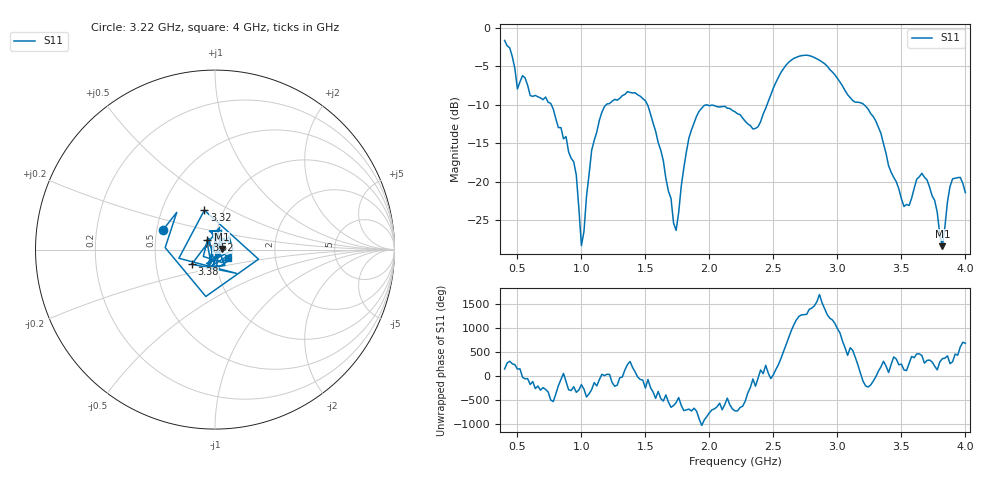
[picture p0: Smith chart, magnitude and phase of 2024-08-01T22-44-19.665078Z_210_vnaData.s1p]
!Created with skrf (http://scikit-rf.org).
# Hz S RI R 50.0
!freq ReS11 ImS11
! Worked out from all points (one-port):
!   181 points, 400 MHz to 4 GHz, reference 50 ohm
!   lowest |S11| = -28.4 dB at 3.82 GHz (marker M1), VSWR 1.08, Z = 53.9 + j0.407 ohm
!   |S11| at or under -10 dB: 1.517 GHz to 1.974 GHz (457.6 MHz wide, 26.2 % of centre); 1.983 GHz to 2.45 GHz (466.2 MHz wide, 21 % of centre); 3.21 GHz to end of sweep (the widest 3 of 4)
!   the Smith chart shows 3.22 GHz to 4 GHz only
!   S11 on the Smith chart (normalised r, x): 3.22 GHz: 0.54, +0.13; 3.32 GHz: 0.81, +0.37; 3.38 GHz: 0.76, -0.13; 3.52 GHz: 0.91, +0.09; 4 GHz: 1.15, -0.11
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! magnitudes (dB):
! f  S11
! 400 MHz  -1.6
! 500 MHz  -7.9
! 720 MHz  -9.0
! 860 MHz  -14.4
! 960 MHz  -19.1
! 1 GHz  -28.3
! 1.08 GHz  -15.9
! 1.14 GHz  -12.0
! 1.3 GHz  -9.1
! 1.5 GHz  -9.5
! 1.72 GHz  -25.4
! 1.76 GHz  -24.0
! 1.84 GHz  -14.3
! 1.92 GHz  -10.8
! 2.2 GHz  -10.9
! 2.38 GHz  -12.8
! 2.66 GHz  -3.9
! 3.1 GHz  -9.0
! 3.22 GHz  -10.2
! 3.32 GHz  -12.9
! 3.38 GHz  -16.3
! 3.52 GHz  -23.2
! 3.56 GHz  -23.1
! 3.66 GHz  -18.9
! 3.76 GHz  -22.4
! 3.82 GHz  -28.4
! 3.9 GHz  -19.6
! 4 GHz  -21.4
